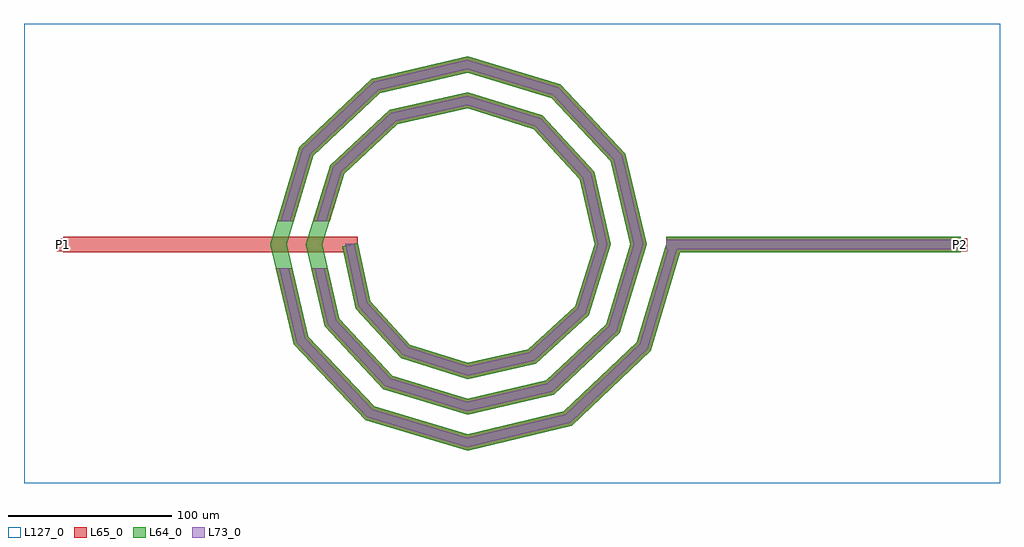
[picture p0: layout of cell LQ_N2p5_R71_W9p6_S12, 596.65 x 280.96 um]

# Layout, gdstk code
import gdstk
lib = gdstk.Library(unit=1e-6, precision=1e-09)
def R(c, l, rs):  # rectangles x0, y0, x1, y1
    for r in rs: c.add(gdstk.rectangle(r[:2], r[2:], *l))
def P(c, l, *ps):  # polygons
    for p in ps: c.add(gdstk.Polygon(p, *l))
L64_0 = (64, 0)
L65_0 = (65, 0)
L73_0 = (73, 0)
L127_0 = (127, 0)

lq_n2p5_r71_w9p6_s12 = lib.new_cell('LQ_N2p5_R71_W9p6_S12')
R(lq_n2p5_r71_w9p6_s12, L64_0, [(121.635,-4.8,301.635,4.8)])
P(lq_n2p5_r71_w9p6_s12, L64_0, [(-59.356,-34.534),(-35.052,-61.159),(0.218,-72.312),(37.251,-64.094),(65.881,-37.796),(77.773,0.204),(68.83,39.97),(40.538,70.604),(0.191,83.235),(-42.69,73.566),(-75.329,43.279),(-88.696,0.18),(-78.302,-45.412),(-46.019,-80.053),(0.17,-94.158),(48.134,-83.036),(84.779,-48.757),(99.62,0.161),(87.771,50.858),(51.495,89.505),(0.153,105.082),(-53.582,92.505),(-94.231,54.233),(-110.543,0.146),(-97.238,-56.307),(-56.97,-98.958),(0.14,-116.005),(59.032,-101.971),(103.685,-59.706),(121.834,1.367),(131.036,-1.367),(112.153,-64.908),(63.762,-110.713),(0.14,-125.94),(-62.183,-107.42),(-105.986,-61.025),(-120.478,0.146),(-102.686,59.457),(-58.288,101.259),(0.153,115.016),(56.733,97.952),(96.533,55.55),(109.554,0.161),(93.218,-54.009),(52.811,-91.806),(0.17,-104.092),(-51.286,-88.483),(-87.081,-50.072),(-98.629,0.18),(-83.747,48.563),(-47.332,82.356),(0.191,93.167),(45.842,79.011),(77.631,44.59),(87.705,0.204),(74.273,-43.122),(41.847,-72.907),(0.218,-82.242),(-40.404,-69.535),(-68.184,-39.102),(-76.504,-1.025),(-67.126,1.025)])
R(lq_n2p5_r71_w9p6_s12, L65_0, [(-247.015,-4.8,-67.015,4.8), (121.635,-4.8,301.635,4.8), (-251.015,-4,-243.015,4), (297.635,-4,305.635,4)])
P(lq_n2p5_r71_w9p6_s12, L65_0, [(-97.238,-56.307),(-56.97,-98.958),(0.14,-116.005),(59.032,-101.971),(103.685,-59.706),(121.834,1.367),(131.036,-1.367),(112.154,-64.908),(63.762,-110.713),(0.14,-125.941),(-62.183,-107.42),(-105.986,-61.025),(-117.032,-14.4),(-107.166,-14.4)],
  [(-78.302,-45.412),(-46.019,-80.053),(0.17,-94.158),(48.134,-83.036),(84.779,-48.757),(99.62,0.161),(87.771,50.858),(51.495,89.505),(0.153,105.082),(-53.582,92.505),(-94.231,54.233),(-106.18,14.4),(-116.203,14.4),(-102.686,59.457),(-58.288,101.259),(0.153,115.016),(56.733,97.952),(96.533,55.55),(109.554,0.161),(93.218,-54.009),(52.812,-91.807),(0.17,-104.092),(-51.286,-88.483),(-87.081,-50.072),(-95.279,-14.4),(-85.429,-14.4)],
  [(-35.052,-61.159),(0.218,-72.312),(37.251,-64.094),(65.881,-37.796),(77.773,0.204),(68.83,39.97),(40.538,70.605),(0.191,83.235),(-42.69,73.566),(-75.329,43.279),(-84.212,14.4),(-94.256,14.4),(-83.747,48.564),(-47.332,82.356),(0.191,93.167),(45.842,79.011),(77.631,44.59),(87.705,0.204),(74.273,-43.123),(41.847,-72.907),(0.218,-82.242),(-40.404,-69.535),(-68.185,-39.102),(-76.504,-1.025),(-67.126,1.025),(-59.356,-34.534)])
R(lq_n2p5_r71_w9p6_s12, L73_0, [(121.635,-2.8,301.635,2.8)])
P(lq_n2p5_r71_w9p6_s12, L73_0, [(-99.061,-57.29),(-58.056,-100.721),(0.081,-118.075),(60.017,-103.793),(105.449,-60.79),(123.751,0.798),(129.119,0.798),(110.389,-63.824),(62.776,-108.892),(0.081,-123.871),(-61.097,-105.657),(-104.164,-60.042),(-114.977,-14.4),(-109.222,-14.4)],
  [(-80.131,-46.383),(-47.116,-81.809),(0.099,-96.228),(49.109,-84.864),(86.537,-49.851),(101.689,0.094),(89.596,51.835),(52.587,91.265),(0.09,107.151),(-54.562,94.328),(-95.992,55.321),(-108.268,14.4),(-114.115,14.4),(-100.925,58.369),(-57.307,99.435),(0.09,112.947),(55.642,96.192),(94.707,54.572),(107.484,0.094),(91.46,-52.915),(51.837,-89.979),(0.099,-102.022),(-50.188,-86.727),(-85.252,-49.101),(-93.227,-14.4),(-87.481,-14.4)],
  [(-36.167,-62.904),(0.127,-74.381),(38.208,-65.93),(67.63,-38.906),(79.842,0.119),(70.664,40.932),(41.643,72.356),(0.112,85.304),(-43.657,75.397),(-77.082,44.38),(-86.304,14.4),(-92.163,14.4),(-81.993,47.463),(-46.365,80.525),(0.112,91.098),(44.737,77.259),(75.798,43.627),(85.636,0.119),(72.525,-42.013),(40.889,-71.071),(0.127,-80.173),(-39.289,-67.79),(-66.345,-38.15),(-74.55,0.598),(-69.08,0.598),(-61.195,-35.486)])
R(lq_n2p5_r71_w9p6_s12, L127_0, [(-271.015,-145.941,325.635,135.016)])
lq_n2p5_r71_w9p6_s12.add(gdstk.Label('P2', (301.635,0), layer=65, texttype=0))
lq_n2p5_r71_w9p6_s12.add(gdstk.Label('P1', (-247.015,0), layer=65, texttype=0))
lq_n2p5_r71_w9p6_s12.add(gdstk.Label('P2', (305.635,0), layer=145, texttype=0))
lq_n2p5_r71_w9p6_s12.add(gdstk.Label('P1', (-251.015,0), layer=145, texttype=0))

lib.write_gds('LQ_N2p5_R71_W9p6_S12.gds')
